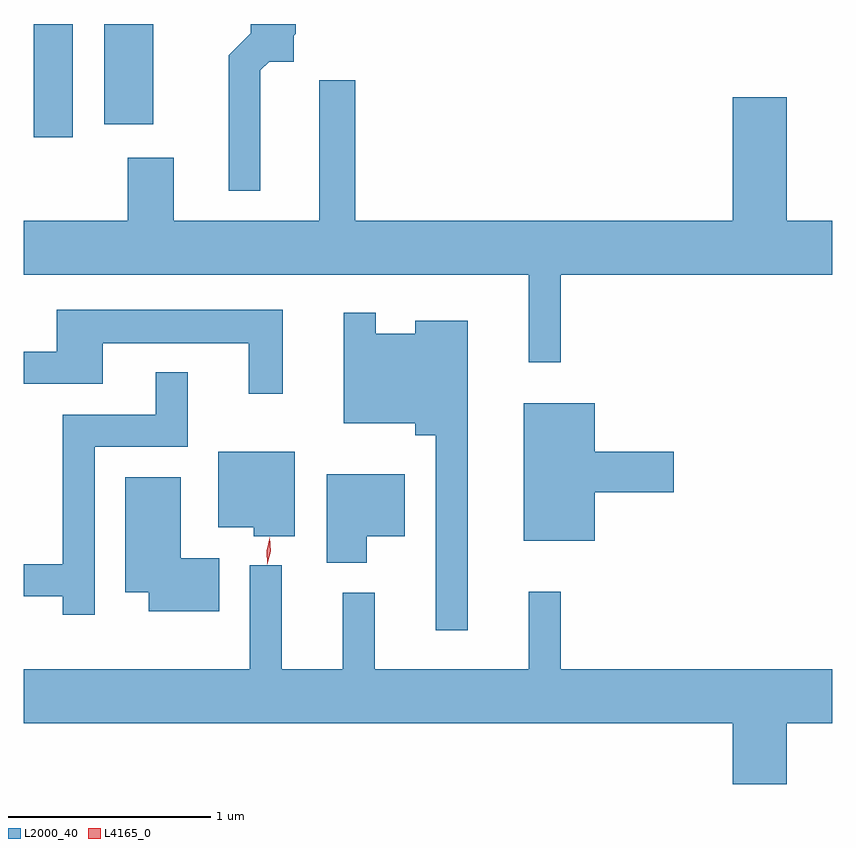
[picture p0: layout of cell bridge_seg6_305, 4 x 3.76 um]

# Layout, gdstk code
import gdstk
lib = gdstk.Library(unit=1e-6, precision=1e-09)
def R(c, l, rs):  # rectangles x0, y0, x1, y1
    for r in rs: c.add(gdstk.rectangle(r[:2], r[2:], *l))
def P(c, l, *ps):  # polygons
    for p in ps: c.add(gdstk.Polygon(p, *l))
L2000_40 = (2000, 40)
L4165_0 = (4165, 0)

bridge_seg6_305 = lib.new_cell('bridge_seg6_305')
R(bridge_seg6_305, L2000_40, [(1270.556,1564.036,1270.749,1564.597), (1270.906,1564.101,1271.149,1564.597)])
P(bridge_seg6_305, L2000_40, [(1271.679,1564.369),(1271.722,1564.411),(1271.844,1564.411),(1271.844,1564.539),(1271.854,1564.549),(1271.854,1564.597),(1271.631,1564.597),(1271.631,1564.552),(1271.521,1564.442),(1271.521,1563.773),(1271.679,1563.773)],
  [(1273.164,1563.356),(1274.508,1563.356),(1274.508,1563.624),(1274.284,1563.624),(1274.284,1564.234),(1274.016,1564.234),(1274.016,1563.624),(1272.149,1563.624),(1272.149,1564.319),(1271.971,1564.319),(1271.971,1563.624),(1271.249,1563.624),(1271.249,1563.934),(1271.021,1563.934),(1271.021,1563.624),(1270.508,1563.624),(1270.508,1563.356),(1273.006,1563.356),(1273.006,1562.923),(1273.164,1562.923)],
  [(1271.789,1563.184),(1270.671,1563.184),(1270.671,1562.974),(1270.508,1562.974),(1270.508,1562.816),(1270.899,1562.816),(1270.899,1563.016),(1271.621,1563.016),(1271.621,1562.768),(1271.789,1562.768)],
  [(1272.704,1563.129),(1272.446,1563.129),(1272.446,1563.064),(1272.249,1563.064),(1272.249,1563.168),(1272.091,1563.168),(1272.091,1562.621),(1272.446,1562.621),(1272.446,1562.561),(1272.546,1562.561),(1272.546,1561.598),(1272.704,1561.598)],
  [(1270.859,1562.506),(1271.319,1562.506),(1271.319,1562.873),(1271.161,1562.873),(1271.161,1562.664),(1270.701,1562.664),(1270.701,1561.924),(1270.508,1561.924),(1270.508,1561.766),(1270.701,1561.766),(1270.701,1561.673),(1270.859,1561.673)],
  [(1273.334,1562.281),(1273.724,1562.281),(1273.724,1562.479),(1273.334,1562.479),(1273.334,1562.719),(1272.981,1562.719),(1272.981,1562.041),(1273.334,1562.041)],
  [(1271.849,1562.479),(1271.471,1562.479),(1271.471,1562.106),(1271.646,1562.106),(1271.646,1562.061),(1271.849,1562.061)],
  [(1272.204,1562.061),(1272.394,1562.061),(1272.394,1562.369),(1272.006,1562.369),(1272.006,1561.931),(1272.204,1561.931)],
  [(1271.474,1561.954),(1271.284,1561.954),(1271.284,1562.354),(1271.011,1562.354),(1271.011,1561.786),(1271.126,1561.786),(1271.126,1561.691),(1271.474,1561.691)],
  [(1274.284,1561.136),(1274.508,1561.136),(1274.508,1561.404),(1273.164,1561.404),(1273.164,1561.788),(1273.006,1561.788),(1273.006,1561.404),(1272.244,1561.404),(1272.244,1561.783),(1272.086,1561.783),(1272.086,1561.404),(1271.784,1561.404),(1271.784,1561.918),(1271.626,1561.918),(1271.626,1561.404),(1270.508,1561.404),(1270.508,1561.136),(1274.016,1561.136),(1274.016,1560.836),(1274.284,1560.836)])
P(bridge_seg6_305, L4165_0, [(1271.713,1561.923),(1271.712,1561.924),(1271.709,1561.99),(1271.725,1562.055),(1271.725,1562.056),(1271.726,1562.055),(1271.729,1561.988),(1271.713,1561.924)])

lib.write_gds('bridge_seg6_305.gds')
